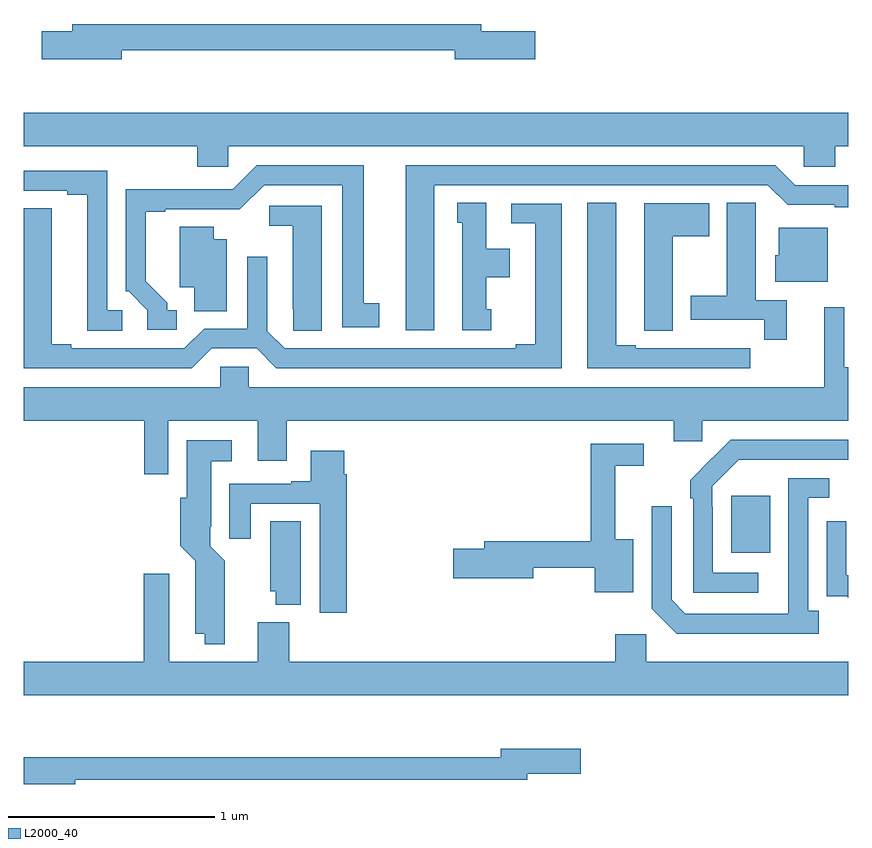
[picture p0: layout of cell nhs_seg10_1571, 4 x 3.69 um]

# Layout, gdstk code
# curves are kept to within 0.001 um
import gdstk
lib = gdstk.Library(unit=1e-6, precision=1e-09)
def R(c, l, rs):  # rectangles x0, y0, x1, y1
    for r in rs: c.add(gdstk.rectangle(r[:2], r[2:], *l))
def P(c, l, *ps):  # polygons
    for p in ps: c.add(gdstk.Polygon(p, *l))
L2000_40 = (2000, 40)

nhs_seg10_1571 = lib.new_cell('nhs_seg10_1571')
R(nhs_seg10_1571, L2000_40, [(196.433,1287.689,196.621,1287.964)])
P(nhs_seg10_1571, L2000_40, [(193.474,1290.126),(195.092,1290.126),(195.092,1290.083),(195.481,1290.083),(195.481,1290.218),(195.22,1290.218),(195.22,1290.254),(193.235,1290.254),(193.235,1290.218),(193.086,1290.218),(193.086,1290.083),(193.474,1290.083)],
  [(193.992,1289.66),(196.785,1289.66),(196.785,1289.562),(196.937,1289.562),(196.937,1289.66),(197,1289.66),(197,1289.824),(193,1289.824),(193,1289.66),(193.841,1289.66),(193.841,1289.562),(193.992,1289.562)],
  [(193.741,1288.866),(193.696,1288.866),(193.696,1288.901),(193.591,1289.006),(193.591,1289.343),(193.687,1289.343),(193.687,1289.355),(194.048,1289.354),(194.166,1289.472),(194.546,1289.472),(194.546,1288.782),(194.725,1288.782),(194.725,1288.898),(194.65,1288.898),(194.65,1289.568),(194.13,1289.568),(194.013,1289.451),(193.757,1289.451),(193.757,1289.453),(193.494,1289.453),(193.494,1288.956),(193.509,1288.956),(193.599,1288.866),(193.599,1288.77),(193.741,1288.77)],
  [(194.992,1289.472),(196.611,1289.472),(196.707,1289.376),(196.934,1289.376),(196.934,1289.364),(197,1289.364),(197,1289.472),(196.743,1289.472),(196.647,1289.568),(194.852,1289.568),(194.852,1288.767),(194.992,1288.767)],
  [(193.477,1288.866),(193.404,1288.866),(193.404,1289.541),(193,1289.541),(193,1289.445),(193.211,1289.445),(193.211,1289.425),(193.307,1289.425),(193.307,1288.765),(193.477,1288.765)],
  [(196.703,1288.914),(196.552,1288.914),(196.552,1289.276),(196.551,1289.276),(196.551,1289.387),(196.412,1289.387),(196.412,1288.935),(196.235,1288.935),(196.235,1288.818),(196.594,1288.818),(196.594,1288.722),(196.703,1288.722)],
  [(195.268,1288.869),(195.244,1288.869),(195.244,1289.024),(195.358,1289.024),(195.358,1289.164),(195.244,1289.164),(195.244,1289.387),(195.104,1289.387),(195.104,1289.289),(195.128,1289.289),(195.128,1288.767),(195.268,1288.767)],
  [(196.525,1288.68),(196.412,1288.68),(196.412,1288.681),(196.246,1288.681),(196.246,1288.68),(195.97,1288.68),(195.97,1288.695),(195.874,1288.695),(195.874,1289.387),(195.734,1289.387),(195.734,1288.584),(196.525,1288.584)],
  [(196.15,1289.224),(196.327,1289.224),(196.327,1289.383),(196.01,1289.383),(196.01,1288.873),(196.011,1288.873),(196.011,1288.765),(196.15,1288.765)],
  [(193.911,1288.68),(194.129,1288.68),(194.225,1288.584),(195.61,1288.584),(195.61,1289.382),(195.366,1289.382),(195.366,1289.286),(195.482,1289.286),(195.482,1288.7),(195.386,1288.7),(195.386,1288.68),(194.265,1288.68),(194.181,1288.764),(194.181,1289.125),(194.085,1289.125),(194.085,1288.776),(193.875,1288.776),(193.779,1288.68),(193.231,1288.68),(193.231,1288.7),(193.135,1288.7),(193.135,1289.36),(193,1289.36),(193,1288.584),(193.815,1288.584)],
  [(194.446,1289.373),(194.19,1289.373),(194.19,1289.276),(194.306,1289.276),(194.306,1288.873),(194.307,1288.873),(194.307,1288.765),(194.446,1288.765)],
  [(193.984,1289.209),(193.921,1289.209),(193.921,1289.27),(193.757,1289.27),(193.757,1288.976),(193.826,1288.976),(193.826,1288.861),(193.984,1288.861)],
  [(196.9,1289.266),(196.664,1289.266),(196.664,1289.133),(196.646,1289.133),(196.646,1289.003),(196.9,1289.003)],
  [(193.701,1288.328),(194.135,1288.328),(194.135,1288.134),(194.275,1288.134),(194.275,1288.328),(196.154,1288.328),(196.154,1288.23),(196.293,1288.23),(196.293,1288.328),(197,1288.328),(197,1288.588),(196.98,1288.588),(196.98,1288.879),(196.883,1288.879),(196.883,1288.492),(194.091,1288.492),(194.091,1288.59),(193.953,1288.59),(193.953,1288.492),(193,1288.492),(193,1288.328),(193.585,1288.328),(193.585,1288.068),(193.701,1288.068)],
  [(196.564,1287.591),(196.344,1287.591),(196.344,1287.911),(196.341,1287.911),(196.341,1288.011),(196.47,1288.14),(197,1288.14),(197,1288.236),(196.43,1288.236),(196.233,1288.041),(196.233,1287.953),(196.248,1287.953),(196.248,1287.495),(196.564,1287.495)],
  [(193.974,1287.548),(193.975,1287.65),(193.905,1287.72),(193.905,1287.814),(193.909,1287.814),(193.909,1288.133),(194.008,1288.133),(194.008,1288.234),(193.79,1288.234),(193.79,1287.954),(193.76,1287.954),(193.76,1287.722),(193.832,1287.65),(193.832,1287.296),(193.877,1287.296),(193.877,1287.245),(193.974,1287.245)],
  [(195.958,1287.754),(195.869,1287.754),(195.869,1288.11),(196.009,1288.11),(196.009,1288.218),(195.751,1288.218),(195.751,1287.743),(195.233,1287.743),(195.233,1287.707),(195.084,1287.707),(195.084,1287.565),(195.472,1287.565),(195.472,1287.615),(195.77,1287.615),(195.77,1287.497),(195.958,1287.497)],
  [(194.567,1288.07),(194.554,1288.07),(194.554,1288.183),(194.393,1288.183),(194.393,1288.036),(194.297,1288.036),(194.297,1288.023),(193.997,1288.023),(193.997,1287.756),(194.101,1287.756),(194.101,1287.927),(194.435,1287.927),(194.435,1287.396),(194.567,1287.396)],
  [(196.858,1287.406),(196.806,1287.406),(196.806,1287.954),(196.909,1287.954),(196.909,1288.05),(196.71,1288.05),(196.709,1287.393),(196.209,1287.393),(196.143,1287.459),(196.143,1287.913),(196.047,1287.913),(196.047,1287.417),(196.168,1287.296),(196.858,1287.296)],
  [(194.344,1287.842),(194.195,1287.842),(194.195,1287.501),(194.222,1287.501),(194.222,1287.437),(194.344,1287.437)],
  [(197,1287.579),(196.992,1287.579),(196.992,1287.841),(196.896,1287.841),(196.896,1287.586),(196.897,1287.586),(196.897,1287.477),(196.999,1287.477),(196.999,1287.471),(197,1287.471)],
  [(197,1287.16),(196.02,1287.16),(196.02,1287.292),(195.869,1287.292),(195.869,1287.16),(194.288,1287.16),(194.288,1287.352),(194.135,1287.352),(194.135,1287.16),(193.705,1287.16),(193.705,1287.586),(193.583,1287.586),(193.583,1287.16),(193,1287.16),(193,1286.996),(197,1286.996)],
  [(193.25,1286.586),(195.442,1286.586),(195.442,1286.615),(195.703,1286.615),(195.703,1286.737),(195.314,1286.737),(195.314,1286.695),(193,1286.695),(193,1286.566),(193.25,1286.566)])

lib.write_gds('nhs_seg10_1571.gds')
